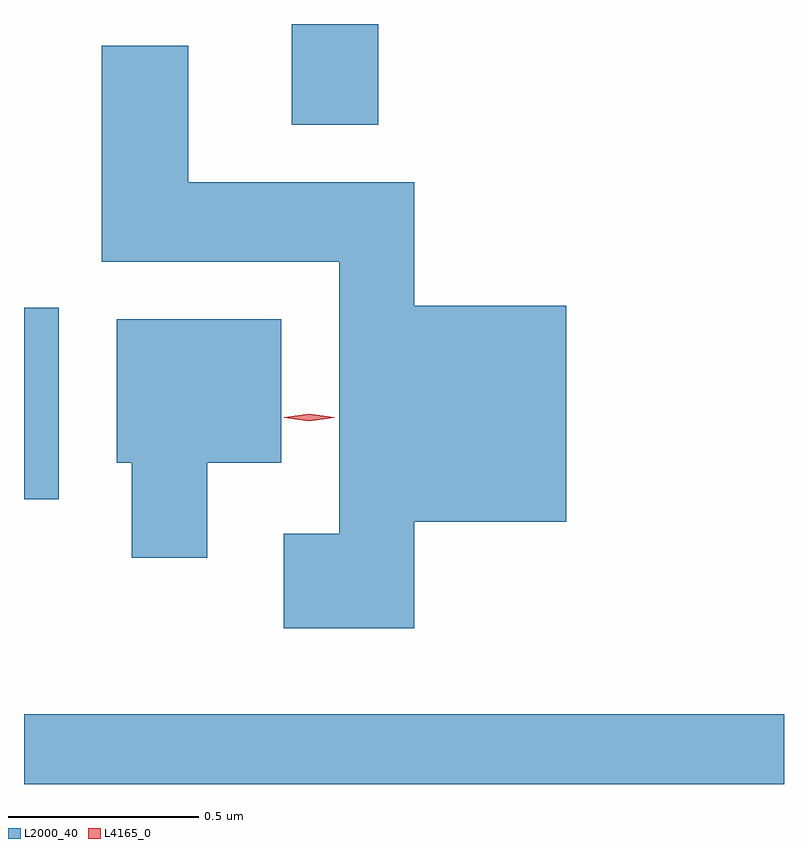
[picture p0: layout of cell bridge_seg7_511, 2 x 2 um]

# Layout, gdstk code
import gdstk
lib = gdstk.Library(unit=1e-6, precision=1e-09)
def R(c, l, rs):  # rectangles x0, y0, x1, y1
    for r in rs: c.add(gdstk.rectangle(r[:2], r[2:], *l))
def P(c, l, *ps):  # polygons
    for p in ps: c.add(gdstk.Polygon(p, *l))
L2000_40 = (2000, 40)
L4165_0 = (4165, 0)

bridge_seg7_511 = lib.new_cell('bridge_seg7_511')
R(bridge_seg7_511, L2000_40, [(1257.497,1681.101,1259.497,1681.284), (1257.497,1681.851,1257.589,1682.354), (1258.201,1682.836,1258.429,1683.101)])
P(bridge_seg7_511, L2000_40, [(1258.524,1681.791),(1258.924,1681.791),(1258.924,1682.359),(1258.524,1682.359),(1258.524,1682.684),(1257.929,1682.684),(1257.929,1683.044),(1257.701,1683.044),(1257.701,1682.476),(1258.326,1682.476),(1258.326,1681.759),(1258.181,1681.759),(1258.181,1681.511),(1258.524,1681.511)],
  [(1257.979,1681.946),(1258.174,1681.946),(1258.174,1682.324),(1257.741,1682.324),(1257.741,1681.946),(1257.781,1681.946),(1257.781,1681.696),(1257.979,1681.696)])
P(bridge_seg7_511, L4165_0, [(1258.248,1682.056),(1258.182,1682.065),(1258.181,1682.066),(1258.182,1682.066),(1258.248,1682.076),(1258.313,1682.066),(1258.314,1682.066),(1258.313,1682.065)])

lib.write_gds('bridge_seg7_511.gds')
